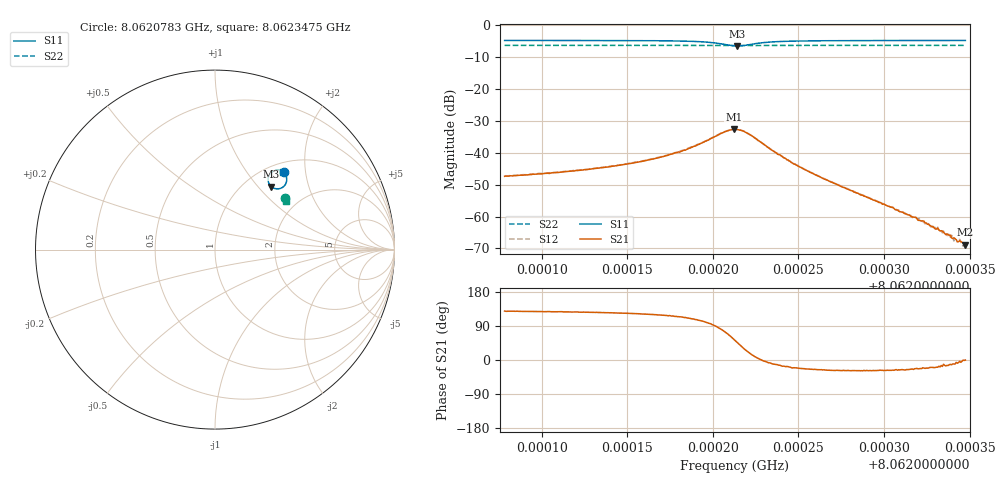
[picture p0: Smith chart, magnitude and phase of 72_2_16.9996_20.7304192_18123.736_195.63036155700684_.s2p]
#  HZ  S  RI  R  50.00
! Rohde & Schwarz Vector Network Analyzer
! Rohde-Schwarz,ZNB20-2Port,1311601062101988,3.16
! Created: UTC 3/20/2024, 10:55:15 PM
! freq[Hz]  re:S11  im:S11  re:S21  im:S21  re:S12  im:S12  re:S22  im:S22
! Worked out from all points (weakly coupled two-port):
!   401 points, 8.0620783 GHz to 8.0623475 GHz, reference 50 ohm
!   highest |S21| = -32.69 dB at 8.0622122 GHz (marker M1); lowest = -68.9 dB at 8.0623475 GHz (marker M2)
!   lowest |S11| = -6.5 dB at 8.0622142 GHz (marker M3), VSWR 2.78, Z = 65.5 + j59 ohm
!   |S11| at or under -10 dB: nowhere
!   |S22| runs from -6.4 to -6.3 dB; largest |S21 - S12| = 0.0018
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8.06207826e9  0.3823 0.4302  -0.0027 0.00331  -0.0025 0.0035  0.3883 0.2857
8.06212337e9  0.3878 0.4237  -0.00316 0.00433  -0.00294 0.00455  0.3898 0.2834
8.06215097e9  0.3926 0.4166  -0.00366 0.00564  -0.0034 0.00594  0.3909 0.2817
8.06216847e9  0.3964 0.4085  -0.00406 0.00733  -0.00364 0.00767  0.3914 0.2804
8.06218396e9  0.3996 0.394  -0.00416 0.0102  -0.00348 0.0108  0.3918 0.279
8.06219809e9  0.3934 0.3653  -0.00179 0.0163  -0.00069 0.0165  0.3914 0.2773
8.06220617e9  0.3674 0.342  0.00471 0.0203  0.00605 0.0202  0.3903 0.2764
8.06221223e9  0.327 0.3424  0.0133 0.019  0.0148 0.018  0.3888 0.2769
8.0622129e9  0.3223 0.3448  0.0143 0.0182  0.0157 0.0174  0.3886 0.2769
8.06221425e9  0.3137 0.3508  0.016 0.0167  0.0172 0.0156  0.3884 0.2773
8.06222098e9  0.2959 0.3947  0.0185 0.00664  0.019 0.00542  0.3886 0.2791
8.06223041e9  0.3165 0.4317  0.0131 -0.000812  0.013 -0.00167  0.3902 0.28
8.06224724e9  0.347 0.4422  0.00622 -0.00231  0.00623 -0.00272  0.3923 0.279
8.06225801e9  0.3569 0.4414  0.00436 -0.00197  0.00422 -0.00229  0.393 0.2784
8.06230311e9  0.3742 0.4352  0.00128 -0.000656  0.00123 -0.000725  0.395 0.2758
8.06231927e9  0.3772 0.4334  0.000856 -0.00035  0.000807 -0.000452  0.3957 0.275
8.06232331e9  0.378 0.433  0.000788 -0.000308  0.000743 -0.000322  0.3958 0.2748
8.06233879e9  0.3802 0.4315  0.0005 -0.000103  0.000454 -0.000126  0.3964 0.2739
8.06234014e9  0.3803 0.4313  0.000446 -8.09e-05  0.000467 -0.000111  0.3965 0.2738
8.0623435e9  0.3808 0.4311  0.000399 -4.69e-05  0.000446 -6.98e-05  0.3966 0.2735
8.0623462e9  0.3811 0.4308  0.000388 -2.71e-06  0.000337 -5.99e-05  0.3967 0.2736
8.06234754e9  0.3812 0.4308  0.00036 -7.79e-07  0.00035 2.98e-06  0.3966 0.2733
